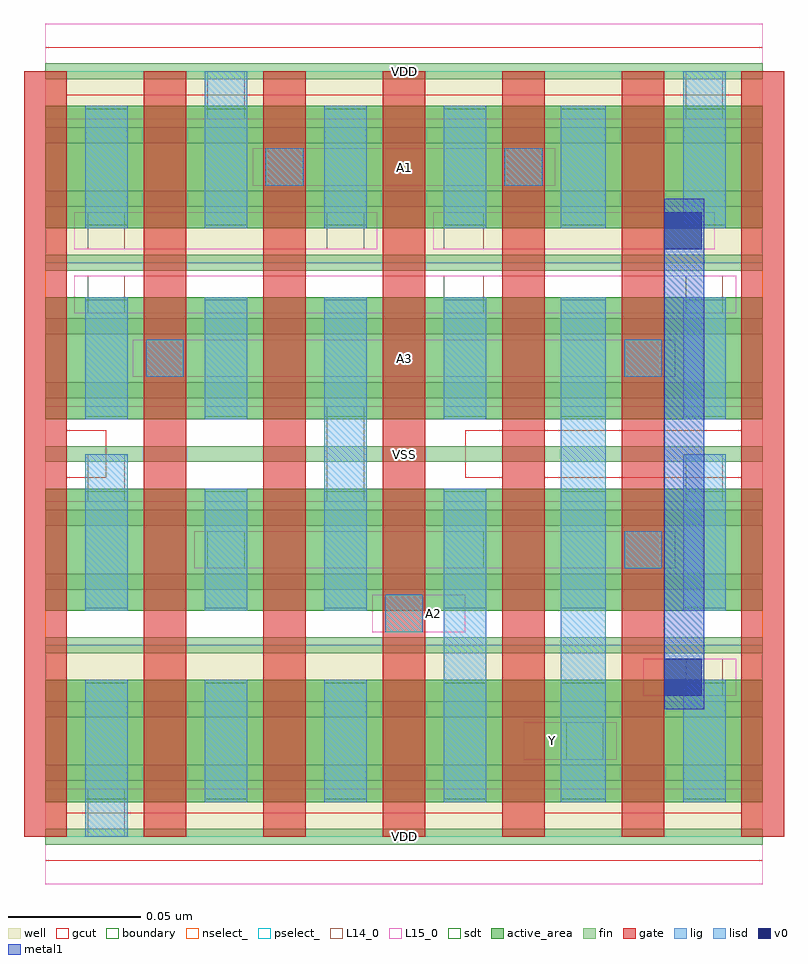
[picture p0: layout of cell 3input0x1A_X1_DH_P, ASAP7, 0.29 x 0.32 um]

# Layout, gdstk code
import gdstk
lib = gdstk.Library(unit=1e-6, precision=1e-09)
def R(c, l, rs):  # rectangles x0, y0, x1, y1
    for r in rs: c.add(gdstk.rectangle(r[:2], r[2:], *l))
def A(c, l, x, y, w, h, nx, ny, dx, dy):  # array of equal rectangles
    R(c, l, [(x+i*dx, y+j*dy, x+i*dx+w, y+j*dy+h) for i in range(nx) for j in range(ny)])
def P(c, l, *ps):  # polygons
    for p in ps: c.add(gdstk.Polygon(p, *l))
well = (1, 0)
fin = (2, 0)
gate = (7, 0)
gcut = (10, 0)
active_area = (11, 0)
nselect_ = (12, 0)
pselect_ = (13, 0)
L14_0 = (14, 0)
L15_0 = (15, 0)
lig = (16, 0)
lisd = (17, 0)
v0 = (18, 0)
metal1 = (19, 0)
sdt = (88, 0)
boundary = (100, 0)

c_3input0x1a_x1_dh_p = lib.new_cell('3input0x1A_X1_DH_P')
R(c_3input0x1a_x1_dh_p, well, [(0,0,0.27,0.072), (0,0.216,0.27,0.288)])
A(c_3input0x1a_x1_dh_p, fin, 0, -0.003, 0.27, 0.006, 1, 13, 0, 0.024)
A(c_3input0x1a_x1_dh_p, gate, -0.008, 0, 0.016, 0.288, 7, 1, 0.045, 0)
P(c_3input0x1a_x1_dh_p, gcut, [(0,-0.009),(0,0),(-0.008,0),(-0.008,0.279),(0.008,0.279),(0.008,0.153),(0.023,0.153),(0.023,0.135),(0.008,0.135),(0.008,0.009),(0.172,0.009),(0.172,0.135),(0.188,0.135),(0.188,0.009),(0.262,0.009),(0.262,0.135),(0.158,0.135),(0.158,0.153),(0.262,0.153),(0.262,0.279),(-0.008,0.279),(-0.008,0.288),(0,0.288),(0,0.297),(0.27,0.297),(0.27,0.288),(0.278,0.288),(0.278,0),(0.27,0),(0.27,-0.009)])
A(c_3input0x1a_x1_dh_p, active_area, 0, 0.013, 0.27, 0.046, 1, 4, 0, 0.072)
R(c_3input0x1a_x1_dh_p, nselect_, [(0,0.072,0.27,0.144), (0,0.144,0.27,0.216)])
R(c_3input0x1a_x1_dh_p, pselect_, [(0,0,0.27,0.072), (0,0.216,0.27,0.288)])
R(c_3input0x1a_x1_dh_p, L14_0, [(0.016,0,0.03,0.018), (0.196,0.029,0.21,0.043), (0.241,0.053,0.255,0.067), (0.128,0.077,0.142,0.091), (0.061,0.101,0.075,0.115), (0.15,0.101,0.165,0.115), (0.218,0.101,0.232,0.115), (0.016,0.126,0.03,0.144), (0.106,0.126,0.12,0.144), (0.241,0.126,0.255,0.144), (0.106,0.144,0.12,0.162), (0.038,0.173,0.052,0.187), (0.218,0.173,0.232,0.187), (0.016,0.197,0.03,0.211), (0.15,0.197,0.165,0.211), (0.241,0.197,0.255,0.211), (0.016,0.221,0.03,0.235), (0.106,0.221,0.12,0.235), (0.15,0.221,0.165,0.235), (0.083,0.245,0.097,0.259), (0.173,0.245,0.187,0.259), (0.061,0.27,0.075,0.288), (0.241,0.27,0.255,0.288)])
A(c_3input0x1a_x1_dh_p, L15_0, 0, -0.018, 0.27, 0.036, 1, 3, 0, 0.144)
R(c_3input0x1a_x1_dh_p, L15_0, [(0.18,0.029,0.215,0.043), (0.225,0.053,0.26,0.067), (0.123,0.077,0.158,0.091), (0.056,0.101,0.237,0.115), (0.033,0.173,0.237,0.187), (0.011,0.197,0.26,0.211), (0.011,0.221,0.125,0.235), (0.146,0.221,0.252,0.235), (0.078,0.245,0.192,0.259)])
R(c_3input0x1a_x1_dh_p, lig, [(0.128,0.077,0.142,0.091), (0.218,0.101,0.232,0.115), (0.038,0.173,0.052,0.187), (0.218,0.173,0.232,0.187), (0.083,0.245,0.097,0.259), (0.173,0.245,0.187,0.259)])
A(c_3input0x1a_x1_dh_p, lisd, 0.06, 0.157, 0.016, 0.046, 3, 1, 0.09, 0)
R(c_3input0x1a_x1_dh_p, lisd, [(0.015,0,0.031,0.059), (0.06,0.013,0.076,0.059), (0.105,0.013,0.121,0.059), (0.15,0.013,0.166,0.131), (0.194,0.013,0.211,0.203), (0.24,0.013,0.256,0.059), (0.015,0.085,0.031,0.144), (0.06,0.085,0.076,0.131), (0.105,0.085,0.121,0.203), (0.24,0.085,0.256,0.144), (0.015,0.157,0.031,0.203), (0.015,0.229,0.031,0.275), (0.06,0.229,0.076,0.288), (0.105,0.229,0.121,0.275), (0.15,0.229,0.166,0.275), (0.194,0.229,0.211,0.275), (0.24,0.229,0.256,0.288)])
R(c_3input0x1a_x1_dh_p, v0, [(0.233,0.053,0.247,0.067), (0.233,0.221,0.247,0.235)])
R(c_3input0x1a_x1_dh_p, metal1, [(0.233,0.048,0.248,0.24)])
A(c_3input0x1a_x1_dh_p, sdt, 0.015, 0.014, 0.016, 0.044, 4, 4, 0.045, 0.072)
A(c_3input0x1a_x1_dh_p, sdt, 0.194, 0.014, 0.017, 0.044, 1, 4, 0, 0.072)
A(c_3input0x1a_x1_dh_p, sdt, 0.24, 0.014, 0.016, 0.044, 1, 4, 0, 0.072)
R(c_3input0x1a_x1_dh_p, boundary, [(0,0,0.27,0.288)])
c_3input0x1a_x1_dh_p.add(gdstk.Label('A1', (0.135,0.252), layer=15, texttype=251))
c_3input0x1a_x1_dh_p.add(gdstk.Label('VDD', (0.135,0), layer=15, texttype=251))
c_3input0x1a_x1_dh_p.add(gdstk.Label('VSS', (0.135,0.144), layer=15, texttype=251))
c_3input0x1a_x1_dh_p.add(gdstk.Label('VSS', (0.135,0.144), layer=15, texttype=251))
c_3input0x1a_x1_dh_p.add(gdstk.Label('VDD', (0.135,0.288), layer=15, texttype=251))
c_3input0x1a_x1_dh_p.add(gdstk.Label('Y', (0.191,0.036), layer=15, texttype=251))
c_3input0x1a_x1_dh_p.add(gdstk.Label('VDD', (0.135,0), layer=15, texttype=251))
c_3input0x1a_x1_dh_p.add(gdstk.Label('VSS', (0.135,0.144), layer=15, texttype=251))
c_3input0x1a_x1_dh_p.add(gdstk.Label('VSS', (0.135,0.144), layer=15, texttype=251))
c_3input0x1a_x1_dh_p.add(gdstk.Label('VDD', (0.135,0.288), layer=15, texttype=251))
c_3input0x1a_x1_dh_p.add(gdstk.Label('A2', (0.146,0.084), layer=15, texttype=251))
c_3input0x1a_x1_dh_p.add(gdstk.Label('VDD', (0.135,0), layer=15, texttype=251))
c_3input0x1a_x1_dh_p.add(gdstk.Label('VSS', (0.135,0.144), layer=15, texttype=251))
c_3input0x1a_x1_dh_p.add(gdstk.Label('VSS', (0.135,0.144), layer=15, texttype=251))
c_3input0x1a_x1_dh_p.add(gdstk.Label('VDD', (0.135,0.288), layer=15, texttype=251))
c_3input0x1a_x1_dh_p.add(gdstk.Label('A3', (0.135,0.18), layer=15, texttype=251))
c_3input0x1a_x1_dh_p.add(gdstk.Label('VDD', (0.135,0), layer=15, texttype=251))
c_3input0x1a_x1_dh_p.add(gdstk.Label('VSS', (0.135,0.144), layer=15, texttype=251))
c_3input0x1a_x1_dh_p.add(gdstk.Label('VSS', (0.135,0.144), layer=15, texttype=251))
c_3input0x1a_x1_dh_p.add(gdstk.Label('VDD', (0.135,0.288), layer=15, texttype=251))
c_3input0x1a_x1_dh_p.add(gdstk.Label('VSS', (0.135,0.144), layer=3, texttype=251))
c_3input0x1a_x1_dh_p.add(gdstk.Label('VSS', (0.135,0.144), layer=3, texttype=251))
c_3input0x1a_x1_dh_p.add(gdstk.Label('VSS', (0.135,0.144), layer=3, texttype=251))
c_3input0x1a_x1_dh_p.add(gdstk.Label('VSS', (0.135,0.144), layer=3, texttype=251))
c_3input0x1a_x1_dh_p.add(gdstk.Label('VSS', (0.135,0.144), layer=3, texttype=251))
c_3input0x1a_x1_dh_p.add(gdstk.Label('VSS', (0.135,0.144), layer=3, texttype=251))
c_3input0x1a_x1_dh_p.add(gdstk.Label('VSS', (0.135,0.144), layer=3, texttype=251))
c_3input0x1a_x1_dh_p.add(gdstk.Label('VSS', (0.135,0.144), layer=3, texttype=251))
c_3input0x1a_x1_dh_p.add(gdstk.Label('VDD', (0.135,0), layer=1, texttype=251))
c_3input0x1a_x1_dh_p.add(gdstk.Label('VDD', (0.135,0.288), layer=1, texttype=251))
c_3input0x1a_x1_dh_p.add(gdstk.Label('VDD', (0.135,0), layer=1, texttype=251))
c_3input0x1a_x1_dh_p.add(gdstk.Label('VDD', (0.135,0.288), layer=1, texttype=251))
c_3input0x1a_x1_dh_p.add(gdstk.Label('VDD', (0.135,0), layer=1, texttype=251))
c_3input0x1a_x1_dh_p.add(gdstk.Label('VDD', (0.135,0.288), layer=1, texttype=251))
c_3input0x1a_x1_dh_p.add(gdstk.Label('VDD', (0.135,0), layer=1, texttype=251))
c_3input0x1a_x1_dh_p.add(gdstk.Label('VDD', (0.135,0.288), layer=1, texttype=251))

lib.write_gds('3input0x1A_X1_DH_P.gds')
